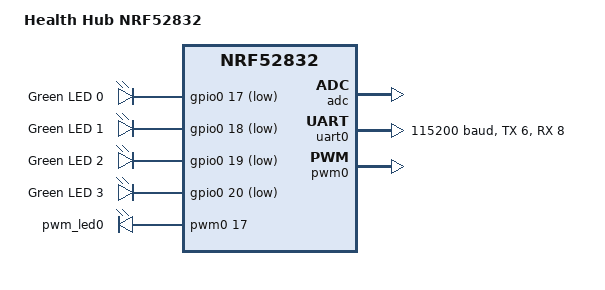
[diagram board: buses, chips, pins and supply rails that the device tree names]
/*
 * Copyright (c) 2017 Shawn Nock <shawn@monadnock.ca>
 * Copyright (c) 2017 Linaro Limited
 *
 * SPDX-License-Identifier: Apache-2.0
 */

/dts-v1/;
#include <nordic/nrf52832_qfaa.dtsi>

/ {
	model = "Health Hub NRF52832";
	compatible = "nordic";

	chosen {
		zephyr,console = &uart0;
		zephyr,shell-uart = &uart0;
		zephyr,uart-mcumgr = &uart0;
		zephyr,bt-mon-uart = &uart0;
		zephyr,bt-c2h-uart = &uart0;
		zephyr,sram = &sram0;
		zephyr,flash = &flash0;
		zephyr,code-partition = &slot0_partition;
	};

	leds {
		compatible = "gpio-leds";
		led0: led_0 {
			gpios = <&gpio0 17 GPIO_ACTIVE_LOW>;
			label = "Green LED 0";
		};
		led1: led_1 {
			gpios = <&gpio0 18 GPIO_ACTIVE_LOW>;
			label = "Green LED 1";
		};
		led2: led_2 {
			gpios = <&gpio0 19 GPIO_ACTIVE_LOW>;
			label = "Green LED 2";
		};
		led3: led_3 {
			gpios = <&gpio0 20 GPIO_ACTIVE_LOW>;
			label = "Green LED 3";
		};
	};

	pwmleds {
		compatible = "pwm-leds";
		pwm_led0: pwm_led_0 {
			pwms = <&pwm0 17>;
		};
	};

	/* These aliases are provided for compatibility with samples */
	aliases {
		led0 = &led0;
		led1 = &led1;
		led2 = &led2;
		led3 = &led3;
		pwm-led0 = &pwm_led0;
	};
};

&adc {
	status = "okay";
};

&gpiote {
	status = "okay";
};

&gpio0 {
	status = "okay";
};

arduino_serial: &uart0 {
	status = "okay";
	compatible = "nordic,nrf-uart";
	current-speed = <115200>;
	tx-pin = <6>;
	rx-pin = <8>;
	rts-pin = <5>;
	cts-pin = <7>;
};

&pwm0 {
	status = "okay";
	ch0-pin = <17>;
	ch0-inverted;
};

&flash0 {
	/*
	 * For more information, see:
	 * https://docs.zephyrproject.org/latest/guides/dts/legacy-macros.html#legacy-flash-partitions
	 */
	partitions {
		compatible = "fixed-partitions";
		#address-cells = <1>;
		#size-cells = <1>;

		boot_partition: partition@0 {
			label = "mcuboot";
			reg = <0x00000000 0xc000>;
		};
		slot0_partition: partition@c000 {
			label = "image-0";
			reg = <0x0000C000 0x32000>;
		};
		slot1_partition: partition@3e000 {
			label = "image-1";
			reg = <0x0003E000 0x32000>;
		};
		scratch_partition: partition@70000 {
			label = "image-scratch";
			reg = <0x00070000 0xa000>;
		};
		storage_partition: partition@7a000 {
			label = "storage";
			reg = <0x0007a000 0x00006000>;
		};
	};
};
